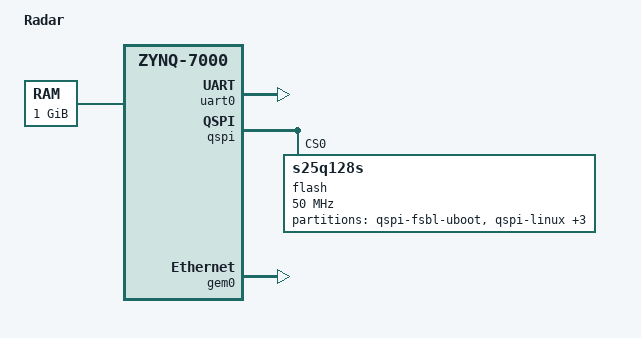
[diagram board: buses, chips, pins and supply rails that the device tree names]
/dts-v1/;
#include "zynq-7000.dtsi"

/ {
	model = "Radar";
	compatible = "xlnx,zynq-7000";

	aliases {
        ethernet0 = &gem0;
		serial0 = &uart0;
		spi0 = &qspi;
	};

	memory@0 {
		device_type = "memory";
		reg = <0 0x40000000>;
	};
};

&uart0 {
	u-boot,dm-pre-reloc;
	status = "okay";
};

&qspi {
	status = "okay";
	is-dual = <0>;
	num-cs = <1>;
	flash@0 {
		compatible = "s25q128s", "jedec,spi-nor";
		reg = <0x0>;
		spi-tx-bus-width = <1>;
		spi-rx-bus-width = <4>;
		spi-max-frequency = <50000000>;
		#address-cells = <1>;
		#size-cells = <1>;
		partition@0 {
			label = "qspi-fsbl-uboot";
			reg = <0x0 0x100000>;
		};
		partition@100000 {
			label = "qspi-linux";
			reg = <0x100000 0x500000>;
		};
		partition@600000 {
			label = "qspi-device-tree";
			reg = <0x600000 0x20000>;
		};
		partition@620000 {
			label = "qspi-rootfs";
			reg = <0x620000 0x5E0000>;
		};
		partition@c00000 {
			label = "qspi-bitstream";
			reg = <0xC00000 0x400000>;
		};
	};
};
&gem0 {
	u-boot,dm-pre-reloc;
	status = "okay";
};
